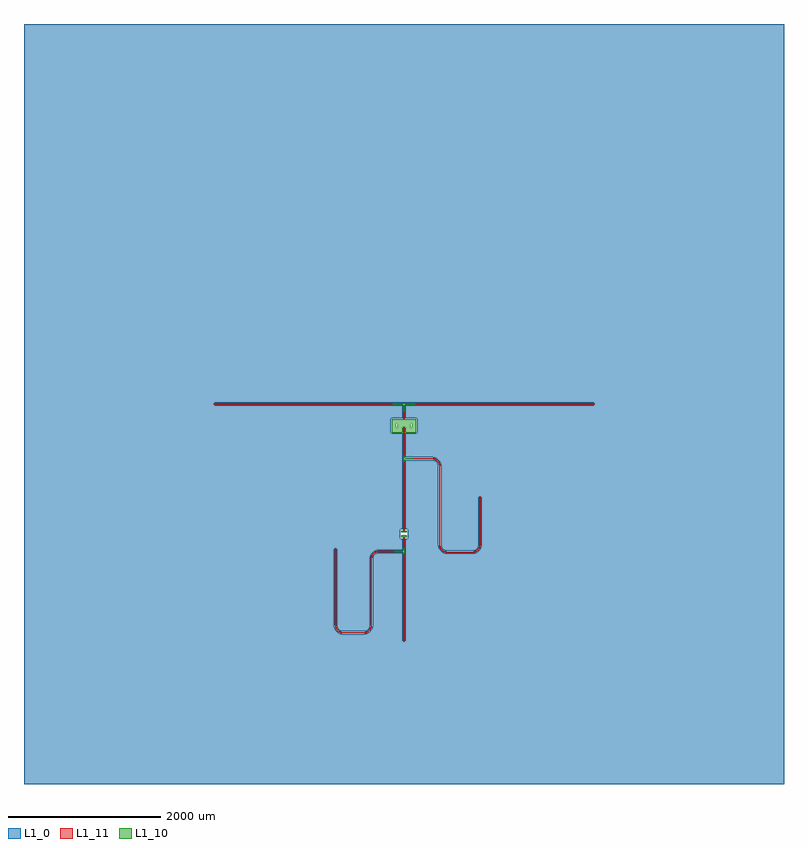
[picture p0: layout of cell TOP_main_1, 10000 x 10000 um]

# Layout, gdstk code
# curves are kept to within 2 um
import gdstk
lib = gdstk.Library(unit=1e-6, precision=1e-09)
def R(c, l, rs):  # rectangles x0, y0, x1, y1
    for r in rs: c.add(gdstk.rectangle(r[:2], r[2:], *l))
def P(c, l, *ps):  # polygons
    for p in ps: c.add(gdstk.Polygon(p, *l))
L1_0 = (1, 0)
L1_10 = (1, 10)
L1_11 = (1, 11)

ground_main_1 = lib.new_cell('ground_main_1')
P(ground_main_1, L1_0, [(5000,-2949.722),(17,-2949.722),(17,-3122.9),(-17,-3122.9),(-17,-2949.722),(-419.654,-2949.722),(-436.971,-2981.616),(-463.297,-3006.599),(-493.154,-3021.323),(-529,-3027),(-801,-3027),(-825.118,-3024.465),(-853.663,-3014.357),(-878.619,-2997.205),(-896.599,-2976.703),(-910.346,-2949.722),(-5000,-2949.722),(-5000,-5000),(5000,-5000)],
  [(-526.424,-2992.96),(-503.661,-2988.987),(-485.062,-2980.235),(-469.225,-2967.133),(-456.729,-2949.722),(-873.271,-2949.722),(-862.509,-2965.228),(-847.091,-2978.821),(-831.186,-2987.242),(-811.277,-2992.353)],
  [(-911.323,-2946.846),(-917,-2911),(-917,-1957.647),(-5000,-1957.647),(-5000,-2949.722),(-910.346,-2949.722)],
  [(-455.937,-2948.227),(-449.576,-2931.393),(-447,-2911),(-446.841,-2032.929),(-436.971,-1991.819),(-413.678,-1957.647),(-883,-1957.647),(-883,-2911),(-876.256,-2943.566),(-873.271,-2949.722)],
  [(-17,-1957.647),(-341.277,-1957.647),(-361.186,-1962.758),(-381.258,-1974.207),(-395.793,-1988.742),(-407.242,-2008.814),(-413,-2039),(-413.04,-2914.037),(-419.654,-2949.722),(-17,-2949.722)],
  [(5000,-1957.647),(946.61,-1957.647),(925.118,-1964.465),(901,-1967),(565.963,-1966.96),(544.882,-1964.465),(523.39,-1957.647),(17,-1957.647),(17,-2949.722),(5000,-2949.722)],
  [(-413.024,-1956.976),(-380.939,-1934.3),(-340.101,-1923.358),(-17,-1923),(-17,-1892.741),(-5000,-1892.741),(-5000,-1957.647),(-917,-1957.647),(-917,-1905.537),(-883,-1905.537),(-883,-1957.647)],
  [(521.819,-1956.971),(503.297,-1946.599),(484.857,-1930.849),(471.714,-1914.178),(460.773,-1892.741),(17,-1892.741),(17,-1957.647)],
  [(903.576,-1932.96),(923.877,-1929.744),(942.741,-1921.581),(958.983,-1908.983),(971.581,-1892.741),(498.419,-1892.741),(511.017,-1908.983),(525.062,-1920.235),(543.661,-1928.987),(561.283,-1932.636)],
  [(5000,-1892.741),(1009.227,-1892.741),(998.286,-1914.178),(985.143,-1930.849),(966.703,-1946.599),(946.61,-1957.647),(5000,-1957.647)],
  [(-17,-1957),(-331,-1957),(-333.576,-1957.04),(-336.149,-1957.162),(-338.717,-1957.364),(-341.277,-1957.647),(-17,-1957.647)],
  [(-17,-1771),(-52.11,-1769),(-52.024,-1650.419),(-17,-1649),(-17,-781.773),(-5000,-781.773),(-5000,-1892.741),(-17,-1892.741)],
  [(460.705,-1892.571),(453,-1851),(453,-819),(447.242,-788.814),(444.063,-781.773),(17,-781.773),(17,-1649),(52.11,-1651),(52.024,-1769.581),(17,-1771),(17,-1892.741)],
  [(5000,-781.773),(480.854,-781.773),(487,-819),(487,-1851),(489.576,-1871.393),(498.419,-1892.741),(971.581,-1892.741),(979.744,-1873.877),(982.96,-1853.576),(983,-1219.816),(1017,-1219.816),(1017,-1851),(1009.227,-1892.741),(5000,-1892.741)],
  [(-17,-781.773),(-17,-387),(-161.176,-386.942),(-169.276,-382.613),(-172,-375),(-171.087,-193.408),(-166.667,-188.022),(-160,-186),(-17,-186),(-17,-17),(-2500,-17),(-2500,17),(2500,17),(2500,-17),(17,-17),(17,-186),(161.176,-186.058),(169.276,-190.387),(172,-198),(172,-375),(169.276,-382.613),(160,-387),(17,-387),(17,-703),(389.146,-704.428),(420.939,-714.3),(446.336,-730.793),(466.599,-753.297),(480.854,-781.773),(5000,-781.773),(5000,5000),(-5000,5000),(-5000,-781.773)],
  [(442.857,-779.496),(432.509,-764.772),(417.091,-751.179),(398.777,-741.848),(378.717,-737.364),(17,-737),(17,-781.773),(444.063,-781.773)])

top_main_1 = lib.new_cell('TOP_main_1')
P(top_main_1, L1_10, [(-8,-100),(-8,-8),(-150,-8),(-150,8),(150,8),(150,-8),(8,-8),(8,-100),(-8,-100)],
  [(-91,-270),(-88.657,-264.343),(-83,-262),(83.784,-262.039),(90.846,-268.439),(90.961,-295.784),(88.657,-300.657),(83,-303),(-83.784,-302.961),(-90.846,-296.561)],
  [(-24.902,-374.995),(-17.067,-367.978),(-18.247,-318.724),(-24.412,-315.029),(-99.445,-313.652),(-102.961,-307.784),(-103,-258),(-100.657,-252.343),(-95.784,-250.039),(-17,-250),(-17,-198),(-156.917,-199.699),(-160,-206.098),(-158.301,-371.917),(-151.902,-375)],
  [(152.098,-374.995),(157.511,-372.789),(159.995,-367.098),(160,-206.098),(157.789,-200.489),(151.902,-198),(-17,-198),(-17,-250),(95.784,-250.039),(102.846,-256.439),(102.961,-307.784),(99.445,-313.652),(24.412,-315.029),(18.465,-318.398),(17,-366.902),(19.211,-372.511),(25.098,-375)],
  [(8,-680),(8,-712),(120,-712),(120,-728),(8,-728),(8,-760),(-8,-760),(-8,-680),(8,-680)],
  [(-120,-1932),(-8,-1932),(-8,-1900),(8,-1900),(8,-1980),(-8,-1980),(-8,-1948),(-120,-1948),(-120,-1932)],
  [(-36.11,-1667),(-34.11,-1665),(34.691,-1665.086),(36.024,-1688.581),(-34.691,-1689.914)],
  [(-36.11,-1732),(-34.11,-1730),(34.691,-1730.086),(36.024,-1753.581),(-34.691,-1754.914)])
R(top_main_1, L1_11, [(-8,-3113.9,8,-1980), (-8,-1900,8,-1765), (-8,-1765,8,-1754.999), (-8,-1665.001,8,-1655), (-8,-1655,8,-760), (-8,-680,8,-415), (-8,-415,8,-302.999), (-8,-198.001,8,-150), (-8,-150,8,-100), (-2500,-8,-150,8), (150,-8,2500,8)])
P(top_main_1, L1_11, [(903.948,-1957.959),(935.743,-1952.202),(964.369,-1937.217),(987.217,-1914.369),(1002.202,-1885.743),(985.099,-1885.743),(968.143,-1912.423),(944.934,-1930.692),(924.986,-1938.782),(901,-1942),(558.237,-1941.361),(534.8,-1935.329),(513.781,-1923.332),(496.668,-1906.219),(484.901,-1885.743),(467.798,-1885.743),(481.07,-1911.969),(500.978,-1933.595),(526.019,-1948.988),(551.388,-1956.541)],
  [(484.671,-1885.2),(479.951,-1869.744),(478,-1851),(478,-819),(473.121,-787.059),(460.577,-760.477),(443.469,-740.278),(421.926,-724.896),(394.399,-714.59),(371,-712),(120,-712),(120,-728),(371,-728),(392.375,-730.546),(414.934,-739.308),(432.423,-751.857),(447.949,-770.422),(458.032,-792.423),(462,-819),(462.041,-1853.948),(467.798,-1885.743)],
  [(1003.121,-1882.941),(1008,-1851),(1008,-1219.816),(992,-1219.816),(992,-1851),(990.049,-1869.744),(985.099,-1885.743),(1002.202,-1885.743)],
  [(-526.052,-3017.959),(-494.257,-3012.202),(-465.631,-2997.217),(-442.783,-2974.369),(-427.798,-2945.743),(-444.901,-2945.743),(-461.857,-2972.423),(-485.066,-2990.692),(-505.014,-2998.782),(-529,-3002),(-814.436,-3001.003),(-835.2,-2995.329),(-856.219,-2983.332),(-873.332,-2966.219),(-885.099,-2945.743),(-902.202,-2945.743),(-890.577,-2969.523),(-871.272,-2991.689),(-849.314,-3006.471),(-821.513,-3016.015),(-801,-3018)],
  [(-885.329,-2945.2),(-890.049,-2929.744),(-892,-2911),(-892,-1905.537),(-908,-1905.537),(-907.959,-2913.948),(-902.202,-2945.743)],
  [(-426.879,-2942.941),(-422,-2911),(-422,-2039),(-418.032,-2012.423),(-409.355,-1992.724),(-394.386,-1973.707),(-374.934,-1959.308),(-354.986,-1951.218),(-331,-1948),(-120,-1948),(-120,-1932),(-331,-1932),(-357.267,-1935.274),(-384.5,-1946.335),(-405.611,-1962.304),(-422.155,-1982.967),(-433.121,-2007.059),(-438,-2039),(-438,-2911),(-439.951,-2929.744),(-444.901,-2945.743),(-427.798,-2945.743)])
top_main_1.add(gdstk.Reference(ground_main_1, (0,0)))

lib.write_gds('TOP_main_1.gds')
